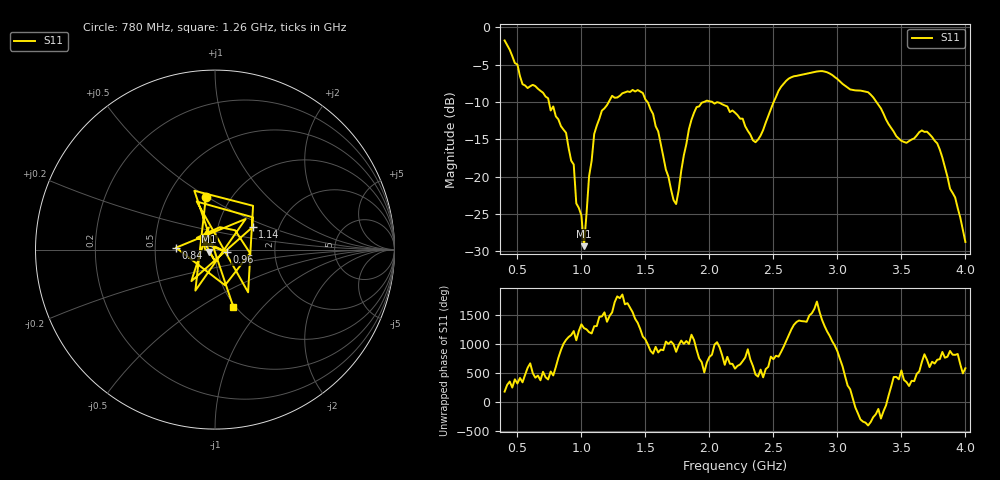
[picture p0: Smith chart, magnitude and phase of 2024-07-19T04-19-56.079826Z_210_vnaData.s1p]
!Created with skrf (http://scikit-rf.org).
# Hz S RI R 50.0
!freq ReS11 ImS11
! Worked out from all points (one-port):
!   181 points, 400 MHz to 4 GHz, reference 50 ohm
!   lowest |S11| = -29.3 dB at 1.02 GHz (marker M1), VSWR 1.07, Z = 46.9 - j1.03 ohm
!   |S11| at or under -10 dB: 745.9 MHz to 1.214 GHz (467.9 MHz wide, 47.7 % of centre); 2.022 GHz to 2.502 GHz (480.5 MHz wide, 21.2 % of centre); 3.305 GHz to end of sweep (the widest 3 of 4)
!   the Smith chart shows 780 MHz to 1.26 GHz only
!   S11 on the Smith chart (normalised r, x): 780 MHz: 0.77, +0.49; 840 MHz: 0.64, +0.01; 960 MHz: 1.14, -0.03; 1.14 GHz: 1.47, +0.39; 1.26 GHz: 0.98, -0.71
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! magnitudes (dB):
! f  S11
! 400 MHz  -1.8
! 540 MHz  -7.6
! 780 MHz  -10.6
! 840 MHz  -13.2
! 860 MHz  -13.7
! 940 MHz  -18.4
! 960 MHz  -23.6
! 1 GHz  -25.2
! 1.02 GHz  -29.3
! 1.06 GHz  -20.0
! 1.1 GHz  -14.3
! 1.14 GHz  -12.3
! 1.26 GHz  -9.4
! 1.3 GHz  -9.2
! 1.48 GHz  -8.8
! 1.6 GHz  -13.9
! 1.72 GHz  -23.1
! 1.76 GHz  -21.8
! 1.84 GHz  -13.7
! 1.9 GHz  -10.7
! 2.2 GHz  -11.4
! 2.36 GHz  -15.4
! 2.66 GHz  -6.6
! 3.1 GHz  -8.3
! 3.24 GHz  -8.7
! 3.56 GHz  -15.2
! 3.78 GHz  -15.5
! 4 GHz  -28.8
